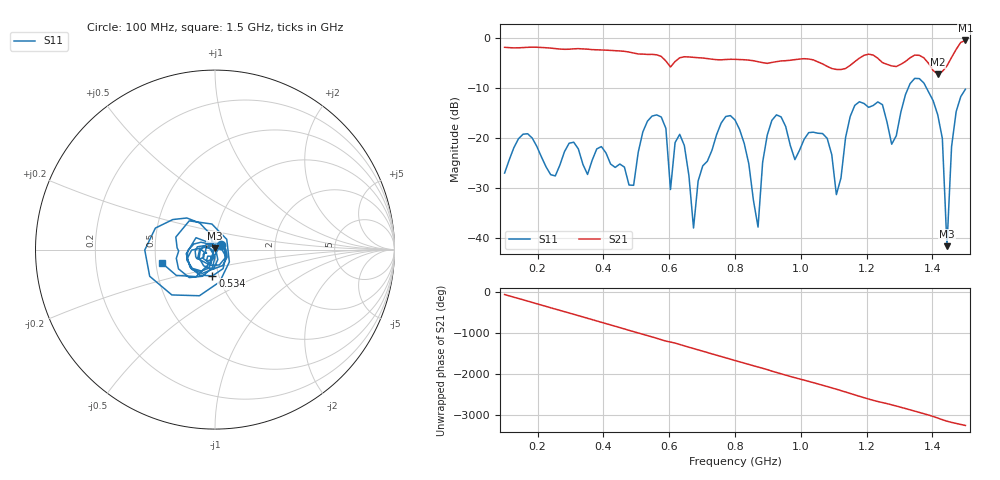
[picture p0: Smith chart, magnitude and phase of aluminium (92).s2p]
! NanoVNA-App
! Date: 2025-09-26 09:58:46
! Start: 100MHz Stop: 1,5GHz Points: 101
! S-Parameter data: F S11 S21 S12 S22
# Hz S RI R 50
!  Frequency  S11_Real  S11_Imag  S21_Real  S21_Imag  S12_Real  S12_Imag  S22_Real  S22_Imag
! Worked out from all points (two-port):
!   101 points, 100 MHz to 1.5 GHz, reference 50 ohm
!   highest |S21| = -0.55 dB at 1.5 GHz (marker M1); lowest = -7.3 dB at 1.416 GHz (marker M2)
!   |S21| within 3 dB of the highest: start of sweep to 568.2 MHz; 1.191 GHz to 1.222 GHz (30.8 MHz wide, 2.55 % of centre)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
!   lowest |S11| = -41.5 dB at 1.444 GHz (marker M3), VSWR 1.02, Z = 49.8 + j0.8 ohm
!   |S11| at or under -10 dB: start of sweep to 1.327 GHz; 1.382 GHz to end of sweep
!   S12 and S22 are empty: the file has one direction only
!   S11 on the Smith chart (normalised r, x): 100 MHz: 1.07, +0.06; 534 MHz: 0.93, -0.28; 1.5 GHz: 0.54, -0.09
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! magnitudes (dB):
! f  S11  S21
! 100 MHz  -27.0  -1.9
! 338 MHz  -25.3  -2.2
! 492 MHz  -29.4  -3.1
! 534 MHz  -16.6  -3.3
! 576 MHz  -15.8  -3.7
! 604 MHz  -30.3  -5.8
! 646 MHz  -21.5  -3.8
! 674 MHz  -37.9  -3.9
! 702 MHz  -25.5  -4.0
! 800 MHz  -16.4  -4.3
! 870 MHz  -37.7  -4.8
! 912 MHz  -16.5  -4.9
! 1.038 GHz  -18.8  -4.4
! 1.108 GHz  -31.3  -6.3
! 1.164 GHz  -13.5  -4.8
! 1.276 GHz  -21.2  -5.6
! 1.346 GHz  -8.1  -3.5
! 1.416 GHz  -15.4  -7.3
! 1.43 GHz  -20.1  -6.7
! 1.444 GHz  -41.5  -5.6
! 1.458 GHz  -21.7  -3.9
! 1.5 GHz  -10.3  -0.5
